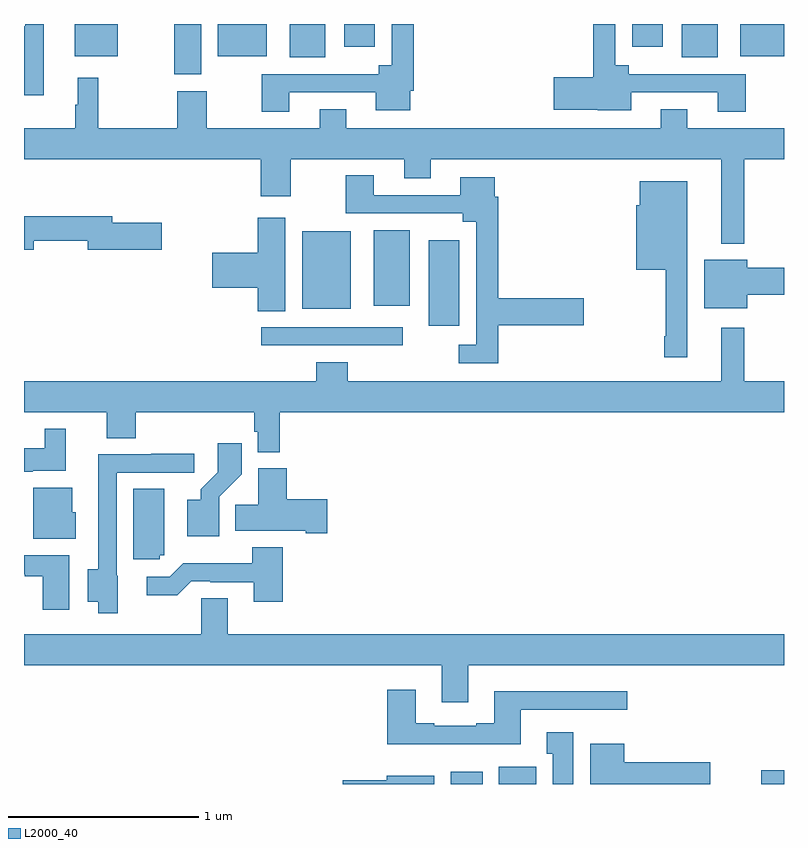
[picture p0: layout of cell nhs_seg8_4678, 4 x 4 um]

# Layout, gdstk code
import gdstk
lib = gdstk.Library(unit=1e-6, precision=1e-09)
def R(c, l, rs):  # rectangles x0, y0, x1, y1
    for r in rs: c.add(gdstk.rectangle(r[:2], r[2:], *l))
def P(c, l, *ps):  # polygons
    for p in ps: c.add(gdstk.Polygon(p, *l))
L2000_40 = (2000, 40)

nhs_seg8_4678 = lib.new_cell('nhs_seg8_4678')
R(nhs_seg8_4678, L2000_40, [(397.247,1091.9,397.414,1091.965), (397.499,1091.9,397.696,1091.992), (398.88,1091.9,399,1091.972), (396.249,1094.208,396.994,1094.304), (397.13,1094.313,397.291,1094.761), (396.464,1094.402,396.721,1094.809), (396.842,1094.417,397.03,1094.815), (395.791,1095.635,395.932,1095.9), (396.398,1095.725,396.586,1095.9), (398.462,1095.725,398.65,1095.9), (395.267,1095.731,395.494,1095.9), (396.02,1095.731,396.277,1095.9), (398.771,1095.731,399,1095.9), (396.686,1095.78,396.847,1095.9), (398.201,1095.78,398.362,1095.9)])
P(nhs_seg8_4678, L2000_40, [(395.104,1095.9),(395.007,1095.9),(395.007,1095.889),(395,1095.889),(395,1095.524),(395.104,1095.524)],
  [(398.799,1095.636),(398.182,1095.636),(398.182,1095.682),(398.112,1095.682),(398.112,1095.9),(397.996,1095.9),(397.996,1095.62),(397.788,1095.62),(397.788,1095.449),(398.019,1095.449),(398.019,1095.446),(398.197,1095.446),(398.197,1095.54),(398.651,1095.54),(398.651,1095.438),(398.799,1095.438)],
  [(396.397,1095.54),(396.851,1095.54),(396.851,1095.446),(397.033,1095.446),(397.033,1095.55),(397.052,1095.55),(397.052,1095.9),(396.936,1095.9),(396.936,1095.682),(396.866,1095.682),(396.866,1095.636),(396.25,1095.636),(396.25,1095.438),(396.397,1095.438)],
  [(398.791,1095.188),(399,1095.188),(399,1095.352),(398.491,1095.352),(398.491,1095.451),(398.351,1095.451),(398.351,1095.352),(396.697,1095.352),(396.697,1095.451),(396.557,1095.451),(396.557,1095.352),(395.961,1095.352),(395.961,1095.547),(395.806,1095.547),(395.806,1095.352),(395.392,1095.352),(395.392,1095.616),(395.282,1095.616),(395.282,1095.476),(395.271,1095.476),(395.271,1095.352),(395,1095.352),(395,1095.188),(396.245,1095.188),(396.245,1094.994),(396.405,1094.994),(396.405,1095.188),(397.001,1095.188),(397.001,1095.089),(397.141,1095.089),(397.141,1095.188),(398.669,1095.188),(398.669,1094.744),(398.791,1094.744)],
  [(397.496,1094.314),(397.945,1094.314),(397.945,1094.456),(397.496,1094.456),(397.496,1094.99),(397.477,1094.99),(397.477,1095.094),(397.295,1095.094),(397.295,1095),(396.841,1095),(396.841,1095.103),(396.694,1095.103),(396.694,1094.904),(397.31,1094.904),(397.31,1094.858),(397.38,1094.858),(397.38,1094.211),(397.287,1094.211),(397.287,1094.115),(397.496,1094.115)],
  [(398.491,1095.073),(398.24,1095.073),(398.24,1094.946),(398.222,1094.946),(398.222,1094.606),(398.377,1094.606),(398.377,1094.257),(398.37,1094.257),(398.37,1094.145),(398.491,1094.145)],
  [(395.05,1094.758),(395.336,1094.758),(395.336,1094.711),(395.725,1094.711),(395.725,1094.853),(395.464,1094.853),(395.464,1094.887),(395,1094.887),(395,1094.711),(395.05,1094.711)],
  [(396.376,1094.881),(396.23,1094.881),(396.23,1094.696),(395.991,1094.696),(395.991,1094.513),(396.23,1094.513),(396.23,1094.389),(396.376,1094.389)],
  [(398.806,1094.476),(399,1094.476),(399,1094.618),(398.806,1094.618),(398.806,1094.659),(398.579,1094.659),(398.579,1094.405),(398.806,1094.405)],
  [(396.347,1093.856),(399,1093.856),(399,1094.02),(398.791,1094.02),(398.791,1094.302),(398.669,1094.302),(398.669,1094.02),(396.704,1094.02),(396.704,1094.119),(396.539,1094.119),(396.539,1094.02),(395,1094.02),(395,1093.856),(395.435,1093.856),(395.435,1093.72),(395.588,1093.72),(395.588,1093.856),(396.211,1093.856),(396.211,1093.755),(396.231,1093.755),(396.231,1093.646),(396.347,1093.646)],
  [(395.046,1093.55),(395.219,1093.55),(395.219,1093.771),(395.109,1093.771),(395.109,1093.666),(395,1093.666),(395,1093.544),(395.046,1093.544)],
  [(396.027,1093.411),(396.146,1093.53),(396.146,1093.693),(396.021,1093.693),(396.021,1093.541),(395.93,1093.451),(395.93,1093.396),(395.858,1093.396),(395.858,1093.203),(396.027,1093.203)],
  [(395.494,1092.996),(395.487,1092.996),(395.487,1093.539),(395.896,1093.539),(395.896,1093.638),(395.671,1093.638),(395.671,1093.635),(395.39,1093.635),(395.39,1093.429),(395.391,1093.429),(395.391,1093.031),(395.336,1093.031),(395.336,1092.86),(395.39,1092.86),(395.39,1092.8),(395.494,1092.8)],
  [(396.595,1093.398),(396.383,1093.398),(396.383,1093.561),(396.233,1093.561),(396.233,1093.37),(396.112,1093.37),(396.112,1093.232),(396.482,1093.232),(396.482,1093.22),(396.595,1093.22)],
  [(395.272,1093.329),(395.254,1093.329),(395.254,1093.46),(395.048,1093.46),(395.048,1093.19),(395.272,1093.19)],
  [(395.715,1093.104),(395.737,1093.104),(395.737,1093.453),(395.576,1093.453),(395.576,1093.083),(395.715,1093.083)],
  [(396.362,1093.147),(396.202,1093.147),(396.202,1093.061),(395.837,1093.061),(395.766,1092.99),(395.646,1092.99),(395.646,1092.893),(395.807,1092.893),(395.88,1092.966),(395.98,1092.966),(395.98,1092.963),(396.209,1092.963),(396.209,1092.858),(396.362,1092.858)],
  [(395.239,1093.103),(395,1093.103),(395,1093.005),(395.003,1093.005),(395.003,1092.993),(395.099,1092.993),(395.099,1092.816),(395.239,1092.816)],
  [(397.339,1092.524),(399,1092.524),(399,1092.688),(396.073,1092.688),(396.073,1092.878),(395.934,1092.878),(395.934,1092.688),(395,1092.688),(395,1092.524),(397.199,1092.524),(397.199,1092.33),(397.339,1092.33)],
  [(397.615,1092.291),(398.176,1092.291),(398.176,1092.388),(397.475,1092.388),(397.475,1092.22),(397.379,1092.22),(397.379,1092.207),(397.159,1092.207),(397.159,1092.22),(397.063,1092.22),(397.063,1092.397),(396.911,1092.397),(396.911,1092.11),(397.615,1092.11)],
  [(397.891,1092.172),(397.751,1092.172),(397.751,1092.059),(397.784,1092.059),(397.784,1091.9),(397.891,1091.9)],
  [(398.611,1092.014),(398.158,1092.014),(398.158,1092.112),(397.979,1092.112),(397.979,1091.9),(398.611,1091.9)],
  [(397.159,1091.944),(396.908,1091.944),(396.908,1091.921),(396.678,1091.921),(396.678,1091.9),(397.159,1091.9)])

lib.write_gds('nhs_seg8_4678.gds')
